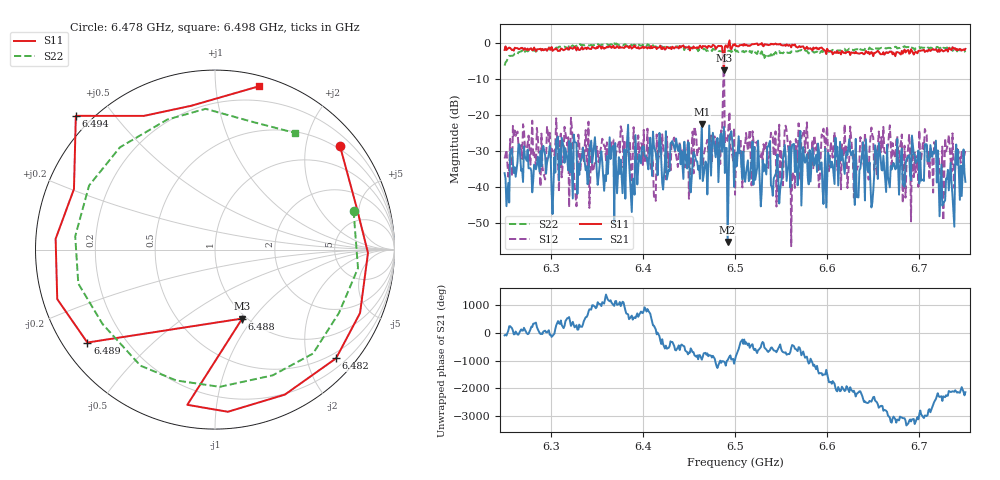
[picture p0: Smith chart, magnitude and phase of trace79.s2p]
# Hz S RI R 50
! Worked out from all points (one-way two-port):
!   401 points, 6.25 GHz to 6.75 GHz, reference 50 ohm
!   highest |S21| = -22.54 dB at 6.464 GHz (marker M1); lowest = -55.2 dB at 6.492 GHz (marker M2)
!   lowest |S11| = -7.7 dB at 6.488 GHz (marker M3), VSWR 2.41, Z = 47.8 - j44.3 ohm
!   |S11| at or under -10 dB: nowhere
!   |S22| runs from -6.3 to -0.2 dB; largest |S21 - S12| = 0.72
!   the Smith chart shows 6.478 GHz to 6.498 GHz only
!   S11 on the Smith chart (normalised r, x): 6.478 GHz: 0.43, +2.72; 6.482 GHz: 0.38, -2.56; 6.488 GHz: 0.96, -0.89; 6.489 GHz: 0.07, -0.32; 6.494 GHz: -0.04, +0.40; 6.498 GHz: 0.08, +1.31
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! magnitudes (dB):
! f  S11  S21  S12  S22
! 6.25 GHz  -2.0  -36.1  -32.0  -6.3
! 6.334 GHz  -1.2  -31.7  -29.7  -0.8
! 6.382 GHz  -1.0  -30.8  -29.5  -0.7
! 6.389 GHz  -1.3  -37.7  -32.2  -0.7
! 6.411 GHz  -1.3  -24.6  -33.7  -0.7
! 6.418 GHz  -1.3  -24.9  -30.9  -0.8
! 6.464 GHz  -1.5  -22.5  -30.6  -2.1
! 6.478 GHz  -0.9  -29.5  -25.9  -1.9
! 6.482 GHz  -0.9  -38.6  -29.1  -2.3
! 6.488 GHz  -7.7  -23.3  -2.7  -2.5
! 6.489 GHz  -1.1  -36.1  -27.6  -2.1
! 6.492 GHz  -1.4  -55.2  -27.1  -2.2
! 6.494 GHz  0.6  -25.8  -19.1  -2.2
! 6.498 GHz  -0.5  -29.8  -32.6  -2.1
! 6.5 GHz  -0.4  -32.6  -42.0  -1.9
! 6.556 GHz  -0.5  -38.2  -24.4  -2.6
! 6.562 GHz  -0.5  -28.2  -35.7  -2.5
! 6.575 GHz  -1.5  -31.8  -24.1  -2.4
! 6.584 GHz  -2.1  -29.2  -26.9  -2.4
! 6.668 GHz  -2.4  -40.0  -22.9  -1.4
! 6.725 GHz  -2.2  -45.1  -28.7  -1.7
! 6.75 GHz  -1.7  -38.5  -29.5  -2.6
